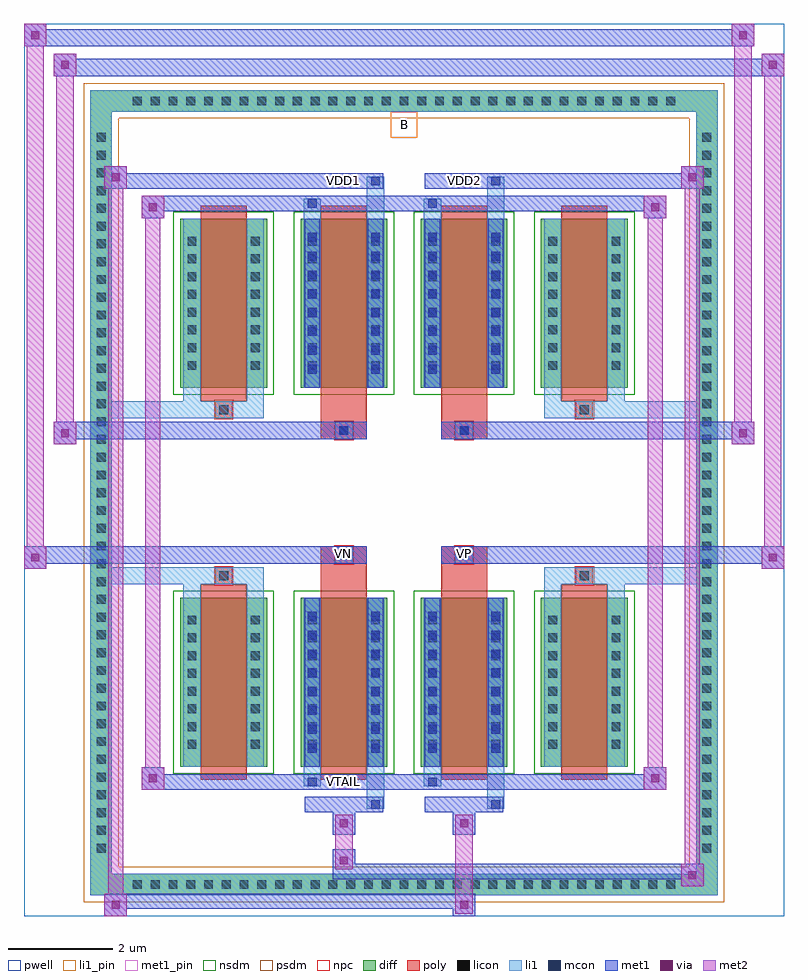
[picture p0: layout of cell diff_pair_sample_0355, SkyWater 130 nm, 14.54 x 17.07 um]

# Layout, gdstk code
import gdstk
lib = gdstk.Library(unit=1e-6, precision=5e-09)
def R(c, l, rs):  # rectangles x0, y0, x1, y1
    for r in rs: c.add(gdstk.rectangle(r[:2], r[2:], *l))
def A(c, l, x, y, w, h, nx, ny, dx, dy):  # array of equal rectangles
    R(c, l, [(x+i*dx, y+j*dy, x+i*dx+w, y+j*dy+h) for i in range(nx) for j in range(ny)])
def P(c, l, *ps):  # polygons
    for p in ps: c.add(gdstk.Polygon(p, *l))
pwell = (64, 44)
diff = (65, 20)
poly = (66, 20)
licon = (66, 44)
li1_pin = (67, 16)
li1 = (67, 20)
mcon = (67, 44)
met1_pin = (68, 16)
met1 = (68, 20)
via = (68, 44)
met2 = (69, 20)
nsdm = (93, 44)
psdm = (94, 20)
npc = (95, 20)

diff_pair_sample_0355 = lib.new_cell('diff_pair_sample_0355')
R(diff_pair_sample_0355, pwell, [(-7.27,-8.1,7.27,8.97), (-4.59,-6.29,-0.01,-0.825), (0.01,-6.29,4.59,-0.825), (-4.59,0.825,-0.01,6.29), (0.01,0.825,4.59,6.29)])
A(diff_pair_sample_0355, diff, -5.305, -7.7, 0.41, 0.41, 31, 2, 0.34, 14.99)
A(diff_pair_sample_0355, diff, -6, -7.005, 0.41, 0.41, 1, 41, 0, 0.34)
A(diff_pair_sample_0355, diff, 5.59, -7.005, 0.41, 0.41, 1, 41, 0, 0.34)
A(diff_pair_sample_0355, diff, -4.28, -5.245, 1.66, 3.24, 4, 2, 2.3, 7.25)
R(diff_pair_sample_0355, diff, [(-5.305,-7.7,5.305,-7.29), (-6,-7.005,-5.59,7.005), (5.59,-7.005,6,7.005), (-5.305,7.29,5.305,7.7)])
P(diff_pair_sample_0355, diff, [(6,7.7),(-6,7.7),(-6,-7.29),(-5.59,-7.29),(-5.59,7.29),(5.59,7.29),(5.59,-7.29),(-5.59,-7.29),(-6,-7.29),(-6,-7.7),(6,-7.7)])
A(diff_pair_sample_0355, poly, -3.89, -5.495, 0.88, 3.74, 4, 2, 2.3, 7.25)
R(diff_pair_sample_0355, poly, [(-3.615,-1.755,-3.285,-1.425), (-3.615,-1.755,-3.285,-1.425), (-1.59,-1.755,-0.71,-1.355), (0.71,-1.755,1.59,-1.355), (3.285,-1.755,3.615,-1.425), (3.285,-1.755,3.615,-1.425), (-1.59,-1.355,-0.71,-1.025), (-1.315,-1.355,-0.985,-1.025), (0.71,-1.355,1.59,-1.025), (0.985,-1.355,1.315,-1.025), (-1.59,1.025,-0.71,1.355), (-1.315,1.025,-0.985,1.355), (0.71,1.025,1.59,1.355), (0.985,1.025,1.315,1.355), (-1.59,1.355,-0.71,1.755), (0.71,1.355,1.59,1.755), (-3.615,1.425,-3.285,1.755), (-3.615,1.425,-3.285,1.755), (3.285,1.425,3.615,1.755), (3.285,1.425,3.615,1.755)])
A(diff_pair_sample_0355, licon, -5.185, -7.58, 0.17, 0.17, 31, 2, 0.34, 14.99)
A(diff_pair_sample_0355, licon, -5.88, -6.885, 0.17, 0.17, 1, 41, 0, 0.34)
A(diff_pair_sample_0355, licon, 5.71, -6.885, 0.17, 0.17, 1, 41, 0, 0.34)
A(diff_pair_sample_0355, licon, -4.14, -4.9, 0.17, 0.17, 1, 8, 0, 0.34)
A(diff_pair_sample_0355, licon, -2.93, -4.9, 0.17, 0.17, 1, 8, 0, 0.34)
A(diff_pair_sample_0355, licon, -1.84, -4.9, 0.17, 0.17, 1, 8, 0, 0.34)
A(diff_pair_sample_0355, licon, -0.63, -4.9, 0.17, 0.17, 1, 8, 0, 0.34)
A(diff_pair_sample_0355, licon, 0.46, -4.9, 0.17, 0.17, 1, 8, 0, 0.34)
A(diff_pair_sample_0355, licon, 1.67, -4.9, 0.17, 0.17, 1, 8, 0, 0.34)
A(diff_pair_sample_0355, licon, 2.76, -4.9, 0.17, 0.17, 1, 8, 0, 0.34)
A(diff_pair_sample_0355, licon, 3.97, -4.9, 0.17, 0.17, 1, 8, 0, 0.34)
A(diff_pair_sample_0355, licon, -4.14, 2.35, 0.17, 0.17, 1, 8, 0, 0.34)
A(diff_pair_sample_0355, licon, -2.93, 2.35, 0.17, 0.17, 1, 8, 0, 0.34)
A(diff_pair_sample_0355, licon, -1.84, 2.35, 0.17, 0.17, 1, 8, 0, 0.34)
A(diff_pair_sample_0355, licon, -0.63, 2.35, 0.17, 0.17, 1, 8, 0, 0.34)
A(diff_pair_sample_0355, licon, 0.46, 2.35, 0.17, 0.17, 1, 8, 0, 0.34)
A(diff_pair_sample_0355, licon, 1.67, 2.35, 0.17, 0.17, 1, 8, 0, 0.34)
A(diff_pair_sample_0355, licon, 2.76, 2.35, 0.17, 0.17, 1, 8, 0, 0.34)
A(diff_pair_sample_0355, licon, 3.97, 2.35, 0.17, 0.17, 1, 8, 0, 0.34)
R(diff_pair_sample_0355, licon, [(-3.535,-1.675,-3.365,-1.505), (3.365,-1.675,3.535,-1.505), (-1.235,-1.275,-1.065,-1.105), (1.065,-1.275,1.235,-1.105), (-1.235,1.105,-1.065,1.275), (1.065,1.105,1.235,1.275), (-3.535,1.505,-3.365,1.675), (3.365,1.505,3.535,1.675)])
R(diff_pair_sample_0355, li1_pin, [(-0.25,6.79,0.25,7.29)])
A(diff_pair_sample_0355, li1, -5.265, -7.66, 0.33, 0.33, 31, 2, 0.34, 14.99)
A(diff_pair_sample_0355, li1, -5.96, -6.965, 0.33, 0.33, 1, 41, 0, 0.34)
A(diff_pair_sample_0355, li1, 5.63, -6.965, 0.33, 0.33, 1, 41, 0, 0.34)
A(diff_pair_sample_0355, li1, -4.22, -4.98, 0.33, 0.33, 1, 8, 0, 0.34)
A(diff_pair_sample_0355, li1, -3.01, -4.98, 0.33, 0.33, 1, 8, 0, 0.34)
A(diff_pair_sample_0355, li1, -1.92, -4.98, 0.33, 0.33, 1, 8, 0, 0.34)
A(diff_pair_sample_0355, li1, -0.71, -4.98, 0.33, 0.33, 1, 8, 0, 0.34)
A(diff_pair_sample_0355, li1, 0.38, -4.98, 0.33, 0.33, 1, 8, 0, 0.34)
A(diff_pair_sample_0355, li1, 1.59, -4.98, 0.33, 0.33, 1, 8, 0, 0.34)
A(diff_pair_sample_0355, li1, 2.68, -4.98, 0.33, 0.33, 1, 8, 0, 0.34)
A(diff_pair_sample_0355, li1, 3.89, -4.98, 0.33, 0.33, 1, 8, 0, 0.34)
A(diff_pair_sample_0355, li1, -1.84, -4.97, 0.17, 0.17, 1, 8, 0, 0.36)
A(diff_pair_sample_0355, li1, -0.63, -4.97, 0.17, 0.17, 1, 8, 0, 0.36)
A(diff_pair_sample_0355, li1, 0.46, -4.97, 0.17, 0.17, 1, 8, 0, 0.36)
A(diff_pair_sample_0355, li1, 1.67, -4.97, 0.17, 0.17, 1, 8, 0, 0.36)
A(diff_pair_sample_0355, li1, -4.22, 2.27, 0.33, 0.33, 1, 8, 0, 0.34)
A(diff_pair_sample_0355, li1, -3.01, 2.27, 0.33, 0.33, 1, 8, 0, 0.34)
A(diff_pair_sample_0355, li1, -1.92, 2.27, 0.33, 0.33, 1, 8, 0, 0.34)
A(diff_pair_sample_0355, li1, -0.71, 2.27, 0.33, 0.33, 1, 8, 0, 0.34)
A(diff_pair_sample_0355, li1, 0.38, 2.27, 0.33, 0.33, 1, 8, 0, 0.34)
A(diff_pair_sample_0355, li1, 1.59, 2.27, 0.33, 0.33, 1, 8, 0, 0.34)
A(diff_pair_sample_0355, li1, 2.68, 2.27, 0.33, 0.33, 1, 8, 0, 0.34)
A(diff_pair_sample_0355, li1, 3.89, 2.27, 0.33, 0.33, 1, 8, 0, 0.34)
A(diff_pair_sample_0355, li1, -1.84, 2.28, 0.17, 0.17, 1, 8, 0, 0.36)
A(diff_pair_sample_0355, li1, -0.63, 2.28, 0.17, 0.17, 1, 8, 0, 0.36)
A(diff_pair_sample_0355, li1, 0.46, 2.28, 0.17, 0.17, 1, 8, 0, 0.36)
A(diff_pair_sample_0355, li1, 1.67, 2.28, 0.17, 0.17, 1, 8, 0, 0.36)
R(diff_pair_sample_0355, li1, [(-6,-7.7,-5.59,-7.29), (-6,-7.7,-5.59,-7.29), (-5.59,-7.7,5.59,-7.29), (5.59,-7.7,6,-7.29), (5.59,-7.7,6,-7.29), (-6,-7.29,-5.59,7.29), (5.59,-7.29,6,7.29), (-0.71,-6.05,-0.38,-5.245), (-0.63,-6.05,-0.46,-5.88), (1.59,-6.05,1.92,-5.245), (1.67,-6.05,1.84,-5.88), (-1.92,-5.62,-1.59,-5.245), (-1.84,-5.62,-1.67,-5.45), (0.38,-5.62,0.71,-5.245), (0.46,-5.62,0.63,-5.45), (-4.22,-5.245,-3.89,-2.005), (-3.01,-5.245,-2.68,-2.005), (-1.92,-5.245,-1.59,-2.005), (-0.71,-5.245,-0.38,-2.005), (0.38,-5.245,0.71,-2.005), (1.59,-5.245,1.92,-2.005), (2.68,-5.245,3.01,-2.005), (3.89,-5.245,4.22,-2.005), (-1.84,-4.97,-1.67,-2.28), (-0.63,-4.97,-0.46,-2.28), (0.46,-4.97,0.63,-2.28), (1.67,-4.97,1.84,-2.28), (-4.22,-2.005,-3.89,-1.425), (-3.01,-2.005,-2.68,-1.425), (2.68,-2.005,3.01,-1.425), (3.89,-2.005,4.22,-1.425), (-6,-1.755,-3.615,-1.425), (-4.22,-1.755,-3.615,-1.425), (-3.615,-1.755,-3.285,-1.425), (-3.285,-1.755,-2.68,-1.425), (2.68,-1.755,3.285,-1.425), (3.285,-1.755,3.615,-1.425), (3.285,-1.755,6,-1.425), (3.615,-1.755,4.22,-1.425), (-1.315,-1.355,-0.985,-1.025), (0.985,-1.355,1.315,-1.025), (-1.315,1.025,-0.985,1.355), (0.985,1.025,1.315,1.355), (-6,1.425,-3.615,1.755), (-4.22,1.425,-3.615,1.755), (-4.22,1.425,-3.89,2.005), (-3.615,1.425,-3.285,1.755), (-3.285,1.425,-2.68,1.755), (-3.01,1.425,-2.68,2.005), (2.68,1.425,3.285,1.755), (2.68,1.425,3.01,2.005), (3.285,1.425,3.615,1.755), (3.285,1.425,6,1.755), (3.615,1.425,4.22,1.755), (3.89,1.425,4.22,2.005), (-4.22,2.005,-3.89,5.245), (-3.01,2.005,-2.68,5.245), (-1.92,2.005,-1.59,5.245), (-0.71,2.005,-0.38,5.245), (0.38,2.005,0.71,5.245), (1.59,2.005,1.92,5.245), (2.68,2.005,3.01,5.245), (3.89,2.005,4.22,5.245), (-1.84,2.28,-1.67,4.97), (-0.63,2.28,-0.46,4.97), (0.46,2.28,0.63,4.97), (1.67,2.28,1.84,4.97), (-1.92,5.245,-1.59,5.62), (-0.71,5.245,-0.38,6.05), (0.38,5.245,0.71,5.62), (1.59,5.245,1.92,6.05), (-1.84,5.45,-1.67,5.62), (0.46,5.45,0.63,5.62), (-0.63,5.88,-0.46,6.05), (1.67,5.88,1.84,6.05), (-6,7.29,-5.59,7.7), (-6,7.29,-5.59,7.7), (-5.59,7.29,5.59,7.7), (5.59,7.29,6,7.7), (5.59,7.29,6,7.7)])
A(diff_pair_sample_0355, mcon, -1.84, -4.97, 0.17, 0.17, 1, 8, 0, 0.36)
A(diff_pair_sample_0355, mcon, -0.63, -4.97, 0.17, 0.17, 1, 8, 0, 0.36)
A(diff_pair_sample_0355, mcon, 0.46, -4.97, 0.17, 0.17, 1, 8, 0, 0.36)
A(diff_pair_sample_0355, mcon, 1.67, -4.97, 0.17, 0.17, 1, 8, 0, 0.36)
A(diff_pair_sample_0355, mcon, -1.84, 2.28, 0.17, 0.17, 1, 8, 0, 0.36)
A(diff_pair_sample_0355, mcon, -0.63, 2.28, 0.17, 0.17, 1, 8, 0, 0.36)
A(diff_pair_sample_0355, mcon, 0.46, 2.28, 0.17, 0.17, 1, 8, 0, 0.36)
A(diff_pair_sample_0355, mcon, 1.67, 2.28, 0.17, 0.17, 1, 8, 0, 0.36)
R(diff_pair_sample_0355, mcon, [(-0.63,-6.05,-0.46,-5.88), (1.67,-6.05,1.84,-5.88), (-1.84,-5.62,-1.67,-5.45), (0.46,-5.62,0.63,-5.45), (-1.235,-1.275,-1.065,-1.105), (1.065,-1.275,1.235,-1.105), (-1.235,1.105,-1.065,1.275), (1.065,1.105,1.235,1.275), (-1.84,5.45,-1.67,5.62), (0.46,5.45,0.63,5.62), (-0.63,5.88,-0.46,6.05), (1.67,5.88,1.84,6.05)])
R(diff_pair_sample_0355, met1_pin, [(-1.285,-5.66,-1.015,-5.39), (-1.285,-1.295,-1.015,-1.025), (1.015,-1.295,1.285,-1.025), (-1.285,5.84,-1.015,6.11), (1.015,5.84,1.285,6.11)])
A(diff_pair_sample_0355, met1, -1.9, -5.03, 0.29, 0.29, 1, 8, 0, 0.36)
A(diff_pair_sample_0355, met1, -0.69, -5.03, 0.29, 0.29, 1, 8, 0, 0.36)
A(diff_pair_sample_0355, met1, 0.4, -5.03, 0.29, 0.29, 1, 8, 0, 0.36)
A(diff_pair_sample_0355, met1, 1.61, -5.03, 0.29, 0.29, 1, 8, 0, 0.36)
A(diff_pair_sample_0355, met1, -1.9, 2.22, 0.29, 0.29, 1, 8, 0, 0.36)
A(diff_pair_sample_0355, met1, -0.69, 2.22, 0.29, 0.29, 1, 8, 0, 0.36)
A(diff_pair_sample_0355, met1, 0.4, 2.22, 0.29, 0.29, 1, 8, 0, 0.36)
A(diff_pair_sample_0355, met1, 1.61, 2.22, 0.29, 0.29, 1, 8, 0, 0.36)
R(diff_pair_sample_0355, met1, [(-5.73,-8.1,-5.3,-7.67), (0.935,-8.1,1.365,-7.67), (-5.73,-7.96,1.365,-7.67), (5.3,-7.53,5.73,-7.1), (-1.365,-7.39,5.73,-7.1), (-1.365,-7.25,-0.935,-6.82), (-1.365,-6.54,-0.935,-6.11), (0.935,-6.54,1.365,-6.11), (-1.9,-6.11,-0.4,-5.82), (-0.69,-6.11,-0.4,-5.82), (0.4,-6.11,1.9,-5.82), (1.61,-6.11,1.9,-5.82), (-5.02,-5.68,-4.59,-5.25), (-5.02,-5.68,-1.9,-5.39), (-1.9,-5.68,-1.61,-5.39), (-1.9,-5.68,-0.4,-5.39), (-0.4,-5.68,0.4,-5.39), (0.4,-5.68,0.69,-5.39), (0.4,-5.68,1.9,-5.39), (1.9,-5.68,5.02,-5.39), (4.59,-5.68,5.02,-5.25), (-1.9,-5.245,-1.61,-2.005), (-0.69,-5.245,-0.4,-2.005), (0.4,-5.245,0.69,-2.005), (1.61,-5.245,1.9,-2.005), (-7.27,-1.455,-6.84,-1.025), (6.84,-1.455,7.27,-1.025), (-7.27,-1.355,-0.71,-1.025), (-1.59,-1.355,-0.71,-1.025), (0.71,-1.355,1.59,-1.025), (0.71,-1.355,7.27,-1.025), (-1.295,-1.335,-1.005,-1.045), (1.005,-1.335,1.295,-1.045), (-6.7,0.925,-6.27,1.355), (6.27,0.925,6.7,1.355), (-6.7,1.025,-1.59,1.355), (-1.59,1.025,-0.71,1.355), (0.71,1.025,1.59,1.355), (1.59,1.025,6.7,1.355), (-1.295,1.045,-1.005,1.335), (1.005,1.045,1.295,1.335), (-1.9,2.005,-1.61,5.245), (-0.69,2.005,-0.4,5.245), (0.4,2.005,0.69,5.245), (1.61,2.005,1.9,5.245), (-5.02,5.25,-4.59,5.68), (4.59,5.25,5.02,5.68), (-5.02,5.39,-1.9,5.68), (-1.9,5.39,-1.61,5.68), (-1.9,5.39,-0.4,5.68), (-0.4,5.39,0.4,5.68), (0.4,5.39,0.69,5.68), (0.4,5.39,1.9,5.68), (1.9,5.39,5.02,5.68), (-5.73,5.82,-5.3,6.25), (-5.73,5.82,-1.9,6.11), (-1.9,5.82,-0.4,6.11), (-0.69,5.82,-0.4,6.11), (0.4,5.82,1.9,6.11), (1.61,5.82,1.9,6.11), (1.9,5.82,5.73,6.11), (5.3,5.82,5.73,6.25), (-6.7,7.97,-6.27,8.4), (-6.7,7.97,-4.59,8.3), (-4.59,7.97,4.59,8.3), (4.59,7.97,7.27,8.3), (6.84,7.97,7.27,8.4), (-7.27,8.54,-6.84,8.97), (-7.27,8.54,-4.59,8.87), (-4.59,8.54,4.59,8.87), (4.59,8.54,6.7,8.87), (6.27,8.54,6.7,8.97)])
R(diff_pair_sample_0355, via, [(-5.59,-7.96,-5.44,-7.81), (1.075,-7.96,1.225,-7.81), (5.44,-7.39,5.59,-7.24), (-1.225,-7.11,-1.075,-6.96), (-1.225,-6.4,-1.075,-6.25), (1.075,-6.4,1.225,-6.25), (-4.88,-5.54,-4.73,-5.39), (4.73,-5.54,4.88,-5.39), (-7.13,-1.315,-6.98,-1.165), (6.98,-1.315,7.13,-1.165), (-6.56,1.065,-6.41,1.215), (6.41,1.065,6.56,1.215), (-4.88,5.39,-4.73,5.54), (4.73,5.39,4.88,5.54), (-5.59,5.96,-5.44,6.11), (5.44,5.96,5.59,6.11), (-6.56,8.11,-6.41,8.26), (6.98,8.11,7.13,8.26), (-7.13,8.68,-6.98,8.83), (6.41,8.68,6.56,8.83)])
R(diff_pair_sample_0355, met2, [(-5.73,-8.1,-5.3,-7.67), (-5.66,-8.1,-5.37,6.25), (-5.37,-8.1,-5.3,-7.67), (-5.68,-8.05,-5.35,-7.72), (0.985,-8.05,1.315,-7.72), (0.985,-7.72,1.315,-6.49), (5.3,-7.53,5.73,-7.1), (5.37,-7.53,5.66,6.25), (5.66,-7.53,5.73,-7.1), (5.35,-7.48,5.68,-7.15), (-1.315,-7.2,-0.985,-6.87), (-1.315,-6.87,-0.985,-6.49), (-1.315,-6.49,-0.985,-6.16), (0.985,-6.49,1.315,-6.16), (-5.02,-5.68,-4.59,-5.25), (-4.95,-5.68,-4.66,5.68), (-4.66,-5.68,-4.59,-5.25), (4.59,-5.68,5.02,-5.25), (4.66,-5.68,4.95,5.68), (4.95,-5.68,5.02,-5.25), (-4.97,-5.63,-4.64,-5.3), (4.64,-5.63,4.97,-5.3), (-7.27,-1.455,-6.84,-1.025), (-7.22,-1.455,-6.89,8.97), (-6.89,-1.455,-6.84,-1.025), (6.84,-1.455,7.27,-1.025), (6.89,-1.455,7.22,8.4), (7.22,-1.455,7.27,-1.025), (-7.22,-1.405,-6.89,-1.075), (6.89,-1.405,7.22,-1.075), (-6.7,0.925,-6.27,1.355), (-6.65,0.925,-6.32,8.4), (-6.32,0.925,-6.27,1.355), (6.27,0.925,6.7,1.355), (6.32,0.925,6.65,8.97), (6.65,0.925,6.7,1.355), (-6.65,0.975,-6.32,1.305), (6.32,0.975,6.65,1.305), (-5.02,5.25,-4.59,5.68), (-4.66,5.25,-4.59,5.68), (4.59,5.25,5.02,5.68), (4.95,5.25,5.02,5.68), (-4.97,5.3,-4.64,5.63), (4.64,5.3,4.97,5.63), (-5.73,5.82,-5.3,6.25), (-5.37,5.82,-5.3,6.25), (5.3,5.82,5.73,6.25), (5.66,5.82,5.73,6.25), (-5.68,5.87,-5.35,6.2), (5.35,5.87,5.68,6.2), (-6.7,7.97,-6.27,8.4), (-6.32,7.97,-6.27,8.4), (6.84,7.97,7.27,8.4), (7.22,7.97,7.27,8.4), (-6.65,8.02,-6.32,8.35), (6.89,8.02,7.22,8.35), (-7.27,8.54,-6.84,8.97), (-6.89,8.54,-6.84,8.97), (6.27,8.54,6.7,8.97), (6.65,8.54,6.7,8.97), (-7.22,8.59,-6.89,8.92), (6.32,8.59,6.65,8.92)])
A(diff_pair_sample_0355, nsdm, -4.41, -5.375, 1.92, 3.5, 4, 2, 2.3, 7.25)
P(diff_pair_sample_0355, psdm, [(6.13,7.83),(-6.13,7.83),(-6.13,-7.16),(-5.46,-7.16),(-5.46,7.16),(5.46,7.16),(5.46,-7.16),(-5.46,-7.16),(-6.13,-7.16),(-6.13,-7.83),(6.13,-7.83)])
R(diff_pair_sample_0355, npc, [(-3.635,-1.775,-3.265,-1.405), (3.265,-1.775,3.635,-1.405), (-1.335,-1.375,-0.965,-1.005), (0.965,-1.375,1.335,-1.005), (-1.335,1.005,-0.965,1.375), (0.965,1.005,1.335,1.375), (-3.635,1.405,-3.265,1.775), (3.265,1.405,3.635,1.775)])
diff_pair_sample_0355.add(gdstk.Label('VTAIL', (-1.15,-5.525), layer=68, texttype=5))
diff_pair_sample_0355.add(gdstk.Label('VN', (-1.15,-1.16), layer=68, texttype=5))
diff_pair_sample_0355.add(gdstk.Label('VP', (1.15,-1.16), layer=68, texttype=5))
diff_pair_sample_0355.add(gdstk.Label('B', (0,7.04), layer=67, texttype=5))
diff_pair_sample_0355.add(gdstk.Label('VDD2', (1.15,5.975), layer=68, texttype=5))
diff_pair_sample_0355.add(gdstk.Label('VDD1', (-1.15,5.975), layer=68, texttype=5))

lib.write_gds('diff_pair_sample_0355.gds')
